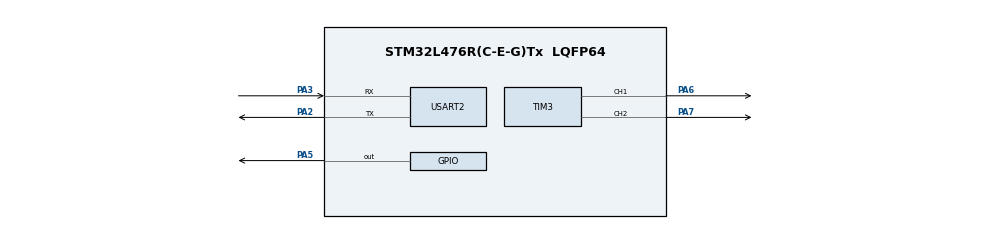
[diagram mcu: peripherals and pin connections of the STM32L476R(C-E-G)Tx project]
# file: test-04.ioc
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Mcu.Family=STM32L4
Mcu.Name=STM32L476R(C-E-G)Tx
Mcu.Package=LQFP64
NVIC.PriorityGroup=NVIC_PRIORITYGROUP_4
PA2.Mode=Asynchronous
PA2.Signal=USART2_TX
PA3.Mode=Asynchronous
PA3.Signal=USART2_RX
PA5.Signal=GPIO_Output
PA6.Signal=S_TIM3_CH1
PA7.Signal=S_TIM3_CH2
ProjectManager.HeapSize=0x200
ProjectManager.StackSize=0x400
ProjectManager.TargetToolchain=STM32CubeIDE
RCC.HSE_VALUE=8000000
RCC.HSI_VALUE=16000000
RCC.LSE_VALUE=32768
RCC.MSI_VALUE=4000000
RCC.VCOOutputFreq_Value=32000000
SH.S_TIM3_CH1.0=TIM3_CH1,PWM Generation1 CH1
SH.S_TIM3_CH2.0=TIM3_CH2,PWM Generation2 CH2
TIM3.Channel-PWM\ Generation1\ CH1=TIM_CHANNEL_1
TIM3.Channel-PWM\ Generation2\ CH2=TIM_CHANNEL_2
USART2.VirtualMode-Asynchronous=VM_ASYNC
board=custom

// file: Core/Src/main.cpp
/* USER CODE BEGIN Header */
/**
  ******************************************************************************
  * @file           : main.c
  * @brief          : Main program body
  ******************************************************************************
  * @attention
  *
  * Copyright (c) 2024 STMicroelectronics.
  * All rights reserved.
  *
  * This software is licensed under terms that can be found in the LICENSE file
  * in the root directory of this software component.
  * If no LICENSE file comes with this software, it is provided AS-IS.
  *
  ******************************************************************************
  */
/* USER CODE END Header */
#include "main.h"

/* USER CODE BEGIN Includes */
#include <stdio.h> // for sprintf
#include <cstring> // for strcopy
#include <cstdint> // for uint_32t
#include <Car.h>
#include <MotorDriver.h>

/* USER CODE END Includes */

TIM_HandleTypeDef htim3;
UART_HandleTypeDef huart2;

void SystemClock_Config(void);
static void MX_GPIO_Init(void);
static void MX_USART2_UART_Init(void);
static void MX_TIM3_Init(void);

int main(void)
{

  /* USER CODE BEGIN 1 */
	Car carObj1("BMW", "I4", 2023, 199556393857519, &htim3);
	Car carObj2("Ford", "Mustang", 1969, 909765383492394, &htim3);
	MotorDriver myMotor(&htim3,
			GPIOA, GPIO_PIN_6, TIM_CHANNEL_1,
			GPIOA, GPIO_PIN_7, TIM_CHANNEL_2);

  /* USER CODE END 1 */

  /* MCU Configuration--------------------------------------------------------*/

  /* Reset of all peripherals, Initializes the Flash interface and the Systick. */
  HAL_Init();

  /* Configure the system clock */
  SystemClock_Config();

  /* Initialize all configured peripherals */
  MX_GPIO_Init();
  MX_USART2_UART_Init();
  MX_TIM3_Init();
  /* USER CODE BEGIN 2 */

  HAL_TIM_PWM_Start(&htim3,TIM_CHANNEL_1);
  HAL_TIM_PWM_Start(&htim3,TIM_CHANNEL_2);
  float duty_cycle = 80;
  const float denominator = htim3.Init.Period;
  int compare_value = (int)(duty_cycle/100*denominator);

  /* USER CODE END 2 */

  /* Infinite loop */
  while (1)
  {

    /* USER CODE BEGIN 3 */

	  // Update duty cycle
//	  myMotor.set_duty(duty_cycle);

	  // Flash LED
	  __HAL_TIM_SET_COMPARE(&htim3,TIM_CHANNEL_1,compare_value);
	  __HAL_TIM_SET_COMPARE(&htim3,TIM_CHANNEL_2,compare_value);

	  // Only update PWM every...
	  HAL_Delay(100);

  }
  /* USER CODE END 3 */
}

void SystemClock_Config(void)
{
  RCC_OscInitTypeDef RCC_OscInitStruct = {0};
  RCC_ClkInitTypeDef RCC_ClkInitStruct = {0};

  /** Configure the main internal regulator output voltage
  */
  if (HAL_PWREx_ControlVoltageScaling(PWR_REGULATOR_VOLTAGE_SCALE1) != HAL_OK)
  {
    Error_Handler();
  }

  /** Initializes the RCC Oscillators according to the specified parameters
  * in the RCC_OscInitTypeDef structure.
  */
  RCC_OscInitStruct.OscillatorType = RCC_OSCILLATORTYPE_MSI;
  RCC_OscInitStruct.MSIState = RCC_MSI_ON;
  RCC_OscInitStruct.MSICalibrationValue = 0;
  RCC_OscInitStruct.MSIClockRange = RCC_MSIRANGE_6;
  RCC_OscInitStruct.PLL.PLLState = RCC_PLL_NONE;
  if (HAL_RCC_OscConfig(&RCC_OscInitStruct) != HAL_OK)
  {
    Error_Handler();
  }

  /** Initializes the CPU, AHB and APB buses clocks
  */
  RCC_ClkInitStruct.ClockType = RCC_CLOCKTYPE_HCLK|RCC_CLOCKTYPE_SYSCLK
                              |RCC_CLOCKTYPE_PCLK1|RCC_CLOCKTYPE_PCLK2;
  RCC_ClkInitStruct.SYSCLKSource = RCC_SYSCLKSOURCE_MSI;
  RCC_ClkInitStruct.AHBCLKDivider = RCC_SYSCLK_DIV1;
  RCC_ClkInitStruct.APB1CLKDivider = RCC_HCLK_DIV1;
  RCC_ClkInitStruct.APB2CLKDivider = RCC_HCLK_DIV1;

  if (HAL_RCC_ClockConfig(&RCC_ClkInitStruct, FLASH_LATENCY_0) != HAL_OK)
  {
    Error_Handler();
  }
}

static void MX_TIM3_Init(void)
{

  TIM_MasterConfigTypeDef sMasterConfig = {0};
  TIM_OC_InitTypeDef sConfigOC = {0};

  htim3.Instance = TIM3;
  htim3.Init.Prescaler = 0;
  htim3.Init.CounterMode = TIM_COUNTERMODE_UP;
  htim3.Init.Period = 65535;
  htim3.Init.ClockDivision = TIM_CLOCKDIVISION_DIV1;
  htim3.Init.AutoReloadPreload = TIM_AUTORELOAD_PRELOAD_DISABLE;
  if (HAL_TIM_PWM_Init(&htim3) != HAL_OK)
  {
    Error_Handler();
  }
  sMasterConfig.MasterOutputTrigger = TIM_TRGO_RESET;
  sMasterConfig.MasterSlaveMode = TIM_MASTERSLAVEMODE_DISABLE;
  if (HAL_TIMEx_MasterConfigSynchronization(&htim3, &sMasterConfig) != HAL_OK)
  {
    Error_Handler();
  }
  sConfigOC.OCMode = TIM_OCMODE_PWM1;
  sConfigOC.Pulse = 0;
  sConfigOC.OCPolarity = TIM_OCPOLARITY_HIGH;
  sConfigOC.OCFastMode = TIM_OCFAST_DISABLE;
  if (HAL_TIM_PWM_ConfigChannel(&htim3, &sConfigOC, TIM_CHANNEL_1) != HAL_OK)
  {
    Error_Handler();
  }
  if (HAL_TIM_PWM_ConfigChannel(&htim3, &sConfigOC, TIM_CHANNEL_2) != HAL_OK)
  {
    Error_Handler();
  }
  HAL_TIM_MspPostInit(&htim3);

}

static void MX_USART2_UART_Init(void)
{

  huart2.Instance = USART2;
  huart2.Init.BaudRate = 115200;
  huart2.Init.WordLength = UART_WORDLENGTH_8B;
  huart2.Init.StopBits = UART_STOPBITS_1;
  huart2.Init.Parity = UART_PARITY_NONE;
  huart2.Init.Mode = UART_MODE_TX_RX;
  huart2.Init.HwFlowCtl = UART_HWCONTROL_NONE;
  huart2.Init.OverSampling = UART_OVERSAMPLING_16;
  huart2.Init.OneBitSampling = UART_ONE_BIT_SAMPLE_DISABLE;
  huart2.AdvancedInit.AdvFeatureInit = UART_ADVFEATURE_NO_INIT;
  if (HAL_UART_Init(&huart2) != HAL_OK)
  {
    Error_Handler();
  }

}

static void MX_GPIO_Init(void)
{
  GPIO_InitTypeDef GPIO_InitStruct = {0};

  /* GPIO Ports Clock Enable */
  __HAL_RCC_GPIOA_CLK_ENABLE();

  /*Configure GPIO pin Output Level */
  HAL_GPIO_WritePin(GPIOA, GPIO_PIN_5, GPIO_PIN_RESET);

  /*Configure GPIO pin : PA5 */
  GPIO_InitStruct.Pin = GPIO_PIN_5;
  GPIO_InitStruct.Mode = GPIO_MODE_OUTPUT_PP;
  GPIO_InitStruct.Pull = GPIO_NOPULL;
  GPIO_InitStruct.Speed = GPIO_SPEED_FREQ_LOW;
  HAL_GPIO_Init(GPIOA, &GPIO_InitStruct);

}

void Error_Handler(void)
{
  __disable_irq();
  while (1)
  {
  }
}
